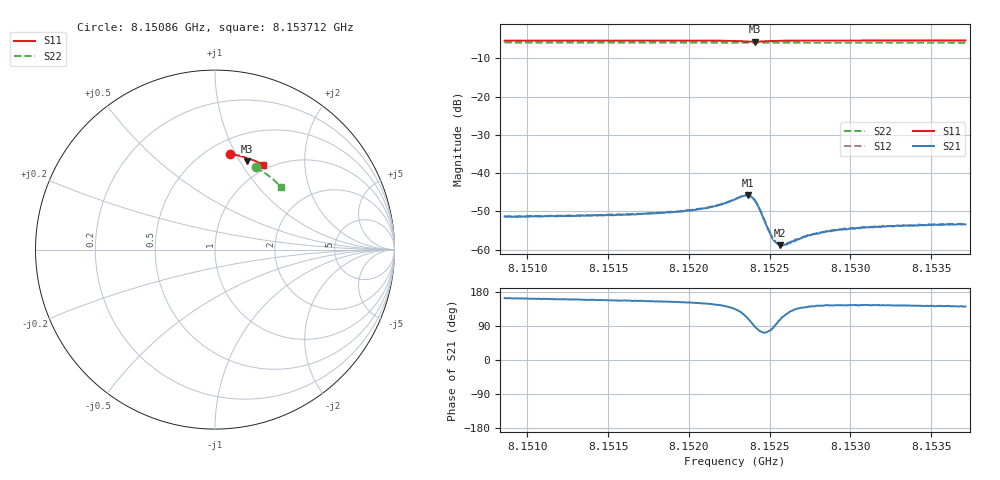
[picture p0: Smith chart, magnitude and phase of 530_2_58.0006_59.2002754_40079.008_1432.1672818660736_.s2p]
#  HZ  S  RI  R  50.00
! Rohde & Schwarz Vector Network Analyzer
! Rohde-Schwarz,ZNB20-2Port,1311601062101988,3.16
! Created: UTC 3/21/2024, 1:14:03 AM
! freq[Hz]  re:S11  im:S11  re:S21  im:S21  re:S12  im:S12  re:S22  im:S22
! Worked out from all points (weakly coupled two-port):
!   401 points, 8.15086 GHz to 8.153712 GHz, reference 50 ohm
!   highest |S21| = -45.84 dB at 8.152364 GHz (marker M1); lowest = -58.9 dB at 8.152564 GHz (marker M2)
!   lowest |S11| = -5.6 dB at 8.152407 GHz (marker M3), VSWR 3.19, Z = 39.6 + j53.5 ohm
!   |S11| at or under -10 dB: nowhere
!   |S22| runs from -5.9 to -5.8 dB; largest |S21 - S12| = 0.00012
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8.1508598e9  0.0815 0.5331  -0.0026 0.000765  -0.00259 0.000843  0.2264 0.4575
8.1513376e9  0.1146 0.5277  -0.0026 0.000973  -0.0026 0.00104  0.2531 0.4426
8.1518153e9  0.1479 0.5198  -0.00268 0.0013  -0.00271 0.00135  0.2789 0.426
8.1519437e9  0.1571 0.5172  -0.00279 0.00144  -0.00279 0.00148  0.2857 0.4213
8.1521148e9  0.1699 0.5125  -0.00299 0.00183  -0.00299 0.00188  0.2946 0.4146
8.1521861e9  0.1757 0.5097  -0.00312 0.00216  -0.00313 0.00222  0.2981 0.412
8.152286e9  0.1834 0.5029  -0.00315 0.00324  -0.00316 0.00328  0.3031 0.4079
8.1523359e9  0.1852 0.4965  -0.00263 0.00425  -0.00262 0.00432  0.3056 0.4056
8.1523644e9  0.1835 0.4926  -0.00178 0.00478  -0.00172 0.00487  0.3069 0.4046
8.1523858e9  0.1805 0.491  -0.000831 0.00482  -0.00079 0.00488  0.3076 0.4036
8.1524072e9  0.1772 0.4916  9.24e-05 0.00442  0.000155 0.00448  0.3086 0.4029
8.1524357e9  0.1748 0.4953  0.000749 0.00338  0.000801 0.00339  0.3099 0.402
8.1524928e9  0.1784 0.5021  0.000442 0.00175  0.000494 0.00176  0.3129 0.4001
8.1525142e9  0.1808 0.5034  0.000208 0.00145  0.000212 0.00146  0.3141 0.3994
8.1525427e9  0.1838 0.5041  -0.00011 0.00121  -8.53e-05 0.00124  0.3156 0.3983
8.1525641e9  0.186 0.5043  -0.000299 0.0011  -0.000338 0.00113  0.3166 0.3974
8.1525997e9  0.1896 0.5043  -0.000577 0.001  -0.00057 0.001  0.3182 0.3958
8.152671e9  0.196 0.5034  -0.000973 0.000938  -0.000957 0.00098  0.3219 0.393
8.1527637e9  0.2033 0.5014  -0.00124 0.00097  -0.00122 0.000968  0.3263 0.389
8.1529705e9  0.218 0.4961  -0.00148 0.00108  -0.00152 0.00108  0.3361 0.3803
8.1532415e9  0.2361 0.4886  -0.00166 0.00117  -0.00164 0.00119  0.3486 0.3683
8.1537121e9  0.2656 0.4741  -0.00166 0.00133  -0.00167 0.00138  0.369 0.3467
